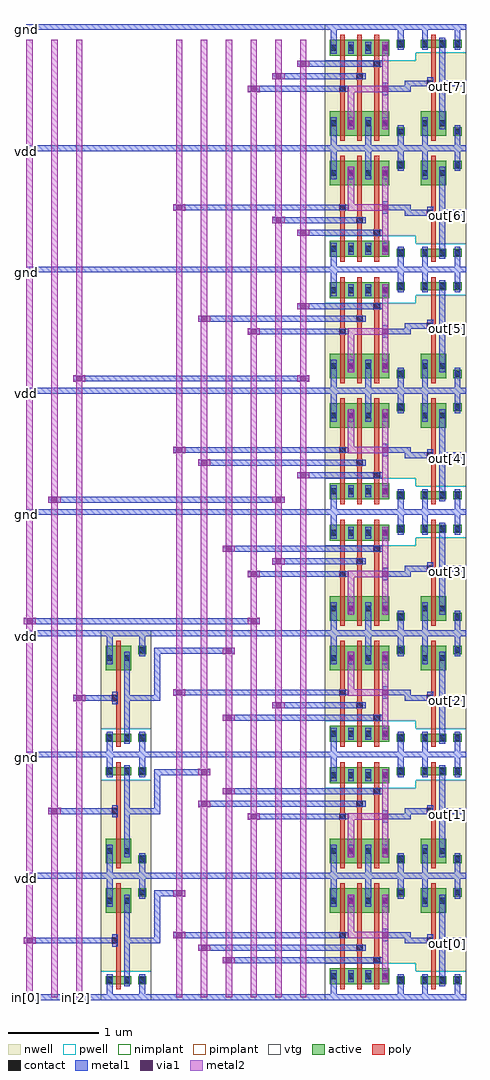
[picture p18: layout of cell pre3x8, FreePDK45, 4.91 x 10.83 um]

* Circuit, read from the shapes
.subckt pre3x8 gnd in[0] in[1] in[2] out[0] out[1] out[2] out[3] out[4] out[5] out[6] out[7] vdd
M1 pnand3_3_11/A in[0] gnd gnd nfet w=0.09u l=0.05u
M2 pnand3_3_11/B in[1] gnd gnd nfet w=0.09u l=0.05u
M3 pnand3_3_11/C in[2] gnd gnd nfet w=0.09u l=0.05u
M4 pnand3_3_11/nmos_m1_w0_18_a_p_3/D pnand3_3_11/A gnd gnd nfet w=0.18u l=0.05u
M5 pnand3_3_12/nmos_m1_w0_18_a_p_3/D in[0] gnd gnd nfet w=0.18u l=0.05u
M6 pnand3_3_13/nmos_m1_w0_18_a_p_3/D pnand3_3_11/A gnd gnd nfet w=0.18u l=0.05u
M7 pnand3_3_14/nmos_m1_w0_18_a_p_3/D in[0] gnd gnd nfet w=0.18u l=0.05u
M8 pnand3_3_15/nmos_m1_w0_18_a_p_3/D pnand3_3_11/A gnd gnd nfet w=0.18u l=0.05u
M9 pnand3_3_16/nmos_m1_w0_18_a_p_3/D in[0] gnd gnd nfet w=0.18u l=0.05u
M10 pnand3_3_17/nmos_m1_w0_18_a_p_3/D pnand3_3_11/A gnd gnd nfet w=0.18u l=0.05u
M11 pnand3_3_18/nmos_m1_w0_18_a_p_3/D in[0] gnd gnd nfet w=0.18u l=0.05u
M12 pnand3_3_11/nmos_m1_w0_18_a_p_4/D pnand3_3_11/B pnand3_3_11/nmos_m1_w0_18_a_p_3/D gnd nfet w=0.18u l=0.05u
M13 pnand3_3_12/nmos_m1_w0_18_a_p_4/D pnand3_3_11/B pnand3_3_12/nmos_m1_w0_18_a_p_3/D gnd nfet w=0.18u l=0.05u
M14 pnand3_3_13/nmos_m1_w0_18_a_p_4/D in[1] pnand3_3_13/nmos_m1_w0_18_a_p_3/D gnd nfet w=0.18u l=0.05u
M15 pnand3_3_14/nmos_m1_w0_18_a_p_4/D in[1] pnand3_3_14/nmos_m1_w0_18_a_p_3/D gnd nfet w=0.18u l=0.05u
M16 pnand3_3_15/nmos_m1_w0_18_a_p_4/D pnand3_3_11/B pnand3_3_15/nmos_m1_w0_18_a_p_3/D gnd nfet w=0.18u l=0.05u
M17 pnand3_3_16/nmos_m1_w0_18_a_p_4/D pnand3_3_11/B pnand3_3_16/nmos_m1_w0_18_a_p_3/D gnd nfet w=0.18u l=0.05u
M18 pnand3_3_17/nmos_m1_w0_18_a_p_4/D in[1] pnand3_3_17/nmos_m1_w0_18_a_p_3/D gnd nfet w=0.18u l=0.05u
M19 pnand3_3_18/nmos_m1_w0_18_a_p_4/D in[1] pnand3_3_18/nmos_m1_w0_18_a_p_3/D gnd nfet w=0.18u l=0.05u
M20 pinv_10_3/A pnand3_3_11/C pnand3_3_11/nmos_m1_w0_18_a_p_4/D gnd nfet w=0.18u l=0.05u
M21 pinv_10_4/A pnand3_3_11/C pnand3_3_12/nmos_m1_w0_18_a_p_4/D gnd nfet w=0.18u l=0.05u
M22 pinv_10_5/A pnand3_3_11/C pnand3_3_13/nmos_m1_w0_18_a_p_4/D gnd nfet w=0.18u l=0.05u
M23 pinv_10_6/A pnand3_3_11/C pnand3_3_14/nmos_m1_w0_18_a_p_4/D gnd nfet w=0.18u l=0.05u
M24 pinv_10_62/A in[2] pnand3_3_15/nmos_m1_w0_18_a_p_4/D gnd nfet w=0.18u l=0.05u
M25 pinv_10_63/A in[2] pnand3_3_16/nmos_m1_w0_18_a_p_4/D gnd nfet w=0.18u l=0.05u
M26 pinv_10_64/A in[2] pnand3_3_17/nmos_m1_w0_18_a_p_4/D gnd nfet w=0.18u l=0.05u
M27 pinv_10_10/A in[2] pnand3_3_18/nmos_m1_w0_18_a_p_4/D gnd nfet w=0.18u l=0.05u
M28 out[0] pinv_10_3/A gnd gnd nfet w=0.09u l=0.05u
M29 out[1] pinv_10_4/A gnd gnd nfet w=0.09u l=0.05u
M30 out[2] pinv_10_5/A gnd gnd nfet w=0.09u l=0.05u
M31 out[3] pinv_10_6/A gnd gnd nfet w=0.09u l=0.05u
M32 out[4] pinv_10_62/A gnd gnd nfet w=0.09u l=0.05u
M33 out[5] pinv_10_63/A gnd gnd nfet w=0.09u l=0.05u
M34 out[6] pinv_10_64/A gnd gnd nfet w=0.09u l=0.05u
M35 out[7] pinv_10_10/A gnd gnd nfet w=0.09u l=0.05u
M36 pnand3_3_11/A in[0] vdd vdd pfet w=0.27u l=0.05u
M37 pnand3_3_11/B in[1] vdd vdd pfet w=0.27u l=0.05u
M38 pnand3_3_11/C in[2] vdd vdd pfet w=0.27u l=0.05u
M39 pinv_10_3/A pnand3_3_11/A vdd vdd pfet w=0.27u l=0.05u
M40 pinv_10_4/A in[0] vdd vdd pfet w=0.27u l=0.05u
M41 pinv_10_5/A pnand3_3_11/A vdd vdd pfet w=0.27u l=0.05u
M42 pinv_10_6/A in[0] vdd vdd pfet w=0.27u l=0.05u
M43 pinv_10_62/A pnand3_3_11/A vdd vdd pfet w=0.27u l=0.05u
M44 pinv_10_63/A in[0] vdd vdd pfet w=0.27u l=0.05u
M45 pinv_10_64/A pnand3_3_11/A vdd vdd pfet w=0.27u l=0.05u
M46 pinv_10_10/A in[0] vdd vdd pfet w=0.27u l=0.05u
M47 vdd pnand3_3_11/B pinv_10_3/A vdd pfet w=0.27u l=0.05u
M48 vdd pnand3_3_11/B pinv_10_4/A vdd pfet w=0.27u l=0.05u
M49 vdd in[1] pinv_10_5/A vdd pfet w=0.27u l=0.05u
M50 vdd in[1] pinv_10_6/A vdd pfet w=0.27u l=0.05u
M51 vdd pnand3_3_11/B pinv_10_62/A vdd pfet w=0.27u l=0.05u
M52 vdd pnand3_3_11/B pinv_10_63/A vdd pfet w=0.27u l=0.05u
M53 vdd in[1] pinv_10_64/A vdd pfet w=0.27u l=0.05u
M54 vdd in[1] pinv_10_10/A vdd pfet w=0.27u l=0.05u
M55 pinv_10_3/A pnand3_3_11/C vdd vdd pfet w=0.27u l=0.05u
M56 pinv_10_4/A pnand3_3_11/C vdd vdd pfet w=0.27u l=0.05u
M57 pinv_10_5/A pnand3_3_11/C vdd vdd pfet w=0.27u l=0.05u
M58 pinv_10_6/A pnand3_3_11/C vdd vdd pfet w=0.27u l=0.05u
M59 pinv_10_62/A in[2] vdd vdd pfet w=0.27u l=0.05u
M60 pinv_10_63/A in[2] vdd vdd pfet w=0.27u l=0.05u
M61 pinv_10_64/A in[2] vdd vdd pfet w=0.27u l=0.05u
M62 pinv_10_10/A in[2] vdd vdd pfet w=0.27u l=0.05u
M63 out[0] pinv_10_3/A vdd vdd pfet w=0.27u l=0.05u
M64 out[1] pinv_10_4/A vdd vdd pfet w=0.27u l=0.05u
M65 out[2] pinv_10_5/A vdd vdd pfet w=0.27u l=0.05u
M66 out[3] pinv_10_6/A vdd vdd pfet w=0.27u l=0.05u
M67 out[4] pinv_10_62/A vdd vdd pfet w=0.27u l=0.05u
M68 out[5] pinv_10_63/A vdd vdd pfet w=0.27u l=0.05u
M69 out[6] pinv_10_64/A vdd vdd pfet w=0.27u l=0.05u
M70 out[7] pinv_10_10/A vdd vdd pfet w=0.27u l=0.05u
.ends

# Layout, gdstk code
from math import pi, radians
import gdstk
lib = gdstk.Library(unit=1e-6, precision=5e-10)
def R(c, l, rs):  # rectangles x0, y0, x1, y1
    for r in rs: c.add(gdstk.rectangle(r[:2], r[2:], *l))
def A(c, l, x, y, w, h, nx, ny, dx, dy):  # array of equal rectangles
    R(c, l, [(x+i*dx, y+j*dy, x+i*dx+w, y+j*dy+h) for i in range(nx) for j in range(ny)])
active = (1, 0)
pwell = (2, 0)
nwell = (3, 0)
nimplant = (4, 0)
pimplant = (5, 0)
vtg = (6, 0)
poly = (9, 0)
contact = (10, 0)
metal1 = (11, 0)
via1 = (12, 0)
metal2 = (13, 0)

active_contact_metal1_1x = lib.new_cell('active_contact_metal1_1x1_pn')
R(active_contact_metal1_1x, active, [(0,0.0225,0.09,0.1125), (0,0.0225,0.09,0.1125)])
R(active_contact_metal1_1x, nwell, [(-0.055,-0.0325,0.145,0.1675), (-0.055,-0.0325,0.145,0.1675)])
R(active_contact_metal1_1x, pimplant, [(0,0.0225,0.09,0.1125), (0,0.0225,0.09,0.1125)])
R(active_contact_metal1_1x, contact, [(0.0125,0.035,0.0775,0.1), (0.0125,0.035,0.0775,0.1)])
R(active_contact_metal1_1x, metal1, [(0.0125,0,0.0775,0.135), (0.0125,0,0.0775,0.135)])

pmos_m1_w0_27_a_p = lib.new_cell('pmos_m1_w0_27_a_p')
R(pmos_m1_w0_27_a_p, active, [(0,0,0.28,0.27), (0,0,0.28,0.27)])
R(pmos_m1_w0_27_a_p, nwell, [(-0.055,-0.055,0.335,0.325), (-0.055,-0.055,0.335,0.325)])
R(pmos_m1_w0_27_a_p, pimplant, [(0,0,0.28,0.27), (0,0,0.28,0.27)])
R(pmos_m1_w0_27_a_p, vtg, [(-0.055,-0.055,0.335,0.325), (-0.055,-0.055,0.335,0.325)])
R(pmos_m1_w0_27_a_p, poly, [(0.115,-0.055,0.165,0.325), (0.115,-0.055,0.165,0.325), (0.115,-0.055,0.165,0.325), (0.115,-0.055,0.165,0.325)])
R(pmos_m1_w0_27_a_p, metal1, [(0.0125,0.0675,0.0775,0.2025), (0.0125,0.0675,0.0775,0.2025), (0.2025,0.0675,0.2675,0.2025), (0.2025,0.0675,0.2675,0.2025)])
pmos_m1_w0_27_a_p.add(gdstk.Reference(active_contact_metal1_1x, (0,0.0675)))
pmos_m1_w0_27_a_p.add(gdstk.Reference(active_contact_metal1_1x, (0.19,0.0675)))
pmos_m1_w0_27_a_p.add(gdstk.Reference(active_contact_metal1_1x, (0,0.0675)))
pmos_m1_w0_27_a_p.add(gdstk.Reference(active_contact_metal1_1x, (0.19,0.0675)))
pmos_m1_w0_27_a_p.add(gdstk.Label('S', (0.0125,0.0675), layer=11, texttype=0))
pmos_m1_w0_27_a_p.add(gdstk.Label('D', (0.2025,0.0675), layer=11, texttype=0))
pmos_m1_w0_27_a_p.add(gdstk.Label('G', (0.115,-0.055), layer=9, texttype=0))
pmos_m1_w0_27_a_p.add(gdstk.Label('S', (0.0125,0.0675), layer=11, texttype=0))
pmos_m1_w0_27_a_p.add(gdstk.Label('D', (0.2025,0.0675), layer=11, texttype=0))
pmos_m1_w0_27_a_p.add(gdstk.Label('G', (0.115,-0.055), layer=9, texttype=0))

c_active_contact_metal1_1x = lib.new_cell('active_contact_metal1_1x1_np')
R(c_active_contact_metal1_1x, active, [(0,0.0225,0.09,0.1125)])
R(c_active_contact_metal1_1x, pwell, [(-0.055,-0.0325,0.145,0.1675)])
R(c_active_contact_metal1_1x, nimplant, [(0,0.0225,0.09,0.1125)])
R(c_active_contact_metal1_1x, contact, [(0.0125,0.035,0.0775,0.1)])
R(c_active_contact_metal1_1x, metal1, [(0.0125,0,0.0775,0.135)])

nmos_m1_w0_09_a_p = lib.new_cell('nmos_m1_w0_09_a_p')
R(nmos_m1_w0_09_a_p, active, [(0,0,0.28,0.09), (0,0,0.28,0.09)])
R(nmos_m1_w0_09_a_p, pwell, [(-0.055,-0.055,0.335,0.145), (-0.055,-0.055,0.335,0.145)])
R(nmos_m1_w0_09_a_p, nimplant, [(0,0,0.28,0.09), (0,0,0.28,0.09)])
R(nmos_m1_w0_09_a_p, vtg, [(-0.055,-0.055,0.335,0.145), (-0.055,-0.055,0.335,0.145)])
R(nmos_m1_w0_09_a_p, poly, [(0.115,-0.055,0.165,0.145), (0.115,-0.055,0.165,0.145), (0.115,-0.055,0.165,0.145), (0.115,-0.055,0.165,0.145)])
R(nmos_m1_w0_09_a_p, metal1, [(0.0125,-0.0225,0.0775,0.1125), (0.0125,-0.0225,0.0775,0.1125), (0.2025,-0.0225,0.2675,0.1125), (0.2025,-0.0225,0.2675,0.1125)])
nmos_m1_w0_09_a_p.add(gdstk.Reference(c_active_contact_metal1_1x, (0,-0.0225)))
nmos_m1_w0_09_a_p.add(gdstk.Reference(c_active_contact_metal1_1x, (0.19,-0.0225)))
nmos_m1_w0_09_a_p.add(gdstk.Reference(c_active_contact_metal1_1x, (0,-0.0225)))
nmos_m1_w0_09_a_p.add(gdstk.Reference(c_active_contact_metal1_1x, (0.19,-0.0225)))
nmos_m1_w0_09_a_p.add(gdstk.Label('S', (0.0125,-0.0225), layer=11, texttype=0))
nmos_m1_w0_09_a_p.add(gdstk.Label('D', (0.2025,-0.0225), layer=11, texttype=0))
nmos_m1_w0_09_a_p.add(gdstk.Label('G', (0.115,-0.055), layer=9, texttype=0))
nmos_m1_w0_09_a_p.add(gdstk.Label('S', (0.0125,-0.0225), layer=11, texttype=0))
nmos_m1_w0_09_a_p.add(gdstk.Label('D', (0.2025,-0.0225), layer=11, texttype=0))
nmos_m1_w0_09_a_p.add(gdstk.Label('G', (0.115,-0.055), layer=9, texttype=0))

c_active_contact_metal1_1x_ = lib.new_cell('active_contact_metal1_1x1_nn')
R(c_active_contact_metal1_1x_, active, [(0,0.0225,0.09,0.1125), (0,0.0225,0.09,0.1125)])
R(c_active_contact_metal1_1x_, nwell, [(-0.055,-0.0325,0.145,0.1675), (-0.055,-0.0325,0.145,0.1675)])
R(c_active_contact_metal1_1x_, nimplant, [(0,0.0225,0.09,0.1125), (0,0.0225,0.09,0.1125)])
R(c_active_contact_metal1_1x_, contact, [(0.0125,0.035,0.0775,0.1), (0.0125,0.035,0.0775,0.1)])
R(c_active_contact_metal1_1x_, metal1, [(0.0125,0,0.0775,0.135), (0.0125,0,0.0775,0.135)])

c_active_contact_metal1_1x__ = lib.new_cell('active_contact_metal1_1x1_pp')
R(c_active_contact_metal1_1x__, active, [(0,0.0225,0.09,0.1125)])
R(c_active_contact_metal1_1x__, pwell, [(-0.055,-0.0325,0.145,0.1675)])
R(c_active_contact_metal1_1x__, pimplant, [(0,0.0225,0.09,0.1125)])
R(c_active_contact_metal1_1x__, contact, [(0.0125,0.035,0.0775,0.1)])
R(c_active_contact_metal1_1x__, metal1, [(0.0125,0,0.0775,0.135)])

poly_contact_metal1_1x1 = lib.new_cell('poly_contact_metal1_1x1')
R(poly_contact_metal1_1x1, poly, [(0,0.03,0.075,0.105), (0,0.03,0.075,0.105)])
R(poly_contact_metal1_1x1, contact, [(0.005,0.035,0.07,0.1), (0.005,0.035,0.07,0.1)])
R(poly_contact_metal1_1x1, metal1, [(0.005,0,0.07,0.135), (0.005,0,0.07,0.135)])

pinv_10 = lib.new_cell('pinv_10')
R(pinv_10, pwell, [(0,-0.0325,0.56,0.285)])
R(pinv_10, nwell, [(0,0.285,0.56,1.3775)])
R(pinv_10, vtg, [(0,-0.0325,0.56,0.285), (0,0.285,0.56,1.3775)])
R(pinv_10, poly, [(0.17,0.085,0.22,0.88), (0.1575,0.59,0.17,0.665)])
R(pinv_10, metal1, [(0,-0.0325,0.56,0.0325), (0.0675,-0.0325,0.1325,0.1175), (0.4275,0,0.4925,0.185), (0.2575,0.1175,0.3225,1.0025), (0.125,0.56,0.19,0.695), (0.29,0.595,0.355,0.66), (0.0675,1.0025,0.1325,1.3775), (0.4275,1.16,0.4925,1.345), (0,1.3125,0.56,1.3775)])
pinv_10.add(gdstk.Reference(pmos_m1_w0_27_a_p, (0.055,0.935)))
pinv_10.add(gdstk.Reference(nmos_m1_w0_09_a_p, (0.055,0.14)))
pinv_10.add(gdstk.Reference(c_active_contact_metal1_1x_, (0.415,1.0925)))
pinv_10.add(gdstk.Reference(c_active_contact_metal1_1x__, (0.415,0.1175)))
pinv_10.add(gdstk.Reference(poly_contact_metal1_1x1, (0.12,0.56)))
pinv_10.add(gdstk.Label('A', (0.125,0.56), layer=11, texttype=0))
pinv_10.add(gdstk.Label('Z', (0.29,0.595), layer=11, texttype=0))
pinv_10.add(gdstk.Label('vdd', (0,1.3125), layer=11, texttype=0))
pinv_10.add(gdstk.Label('gnd', (0,-0.0325), layer=11, texttype=0))

nmos_m1_w0_18_a_p = lib.new_cell('nmos_m1_w0_18_a_p')
R(nmos_m1_w0_18_a_p, active, [(0,0,0.28,0.18), (0,0,0.28,0.18)])
R(nmos_m1_w0_18_a_p, pwell, [(-0.055,-0.055,0.335,0.235), (-0.055,-0.055,0.335,0.235)])
R(nmos_m1_w0_18_a_p, nimplant, [(0,0,0.28,0.18), (0,0,0.28,0.18)])
R(nmos_m1_w0_18_a_p, vtg, [(-0.055,-0.055,0.335,0.235), (-0.055,-0.055,0.335,0.235)])
R(nmos_m1_w0_18_a_p, poly, [(0.115,-0.055,0.165,0.235), (0.115,-0.055,0.165,0.235), (0.115,-0.055,0.165,0.235), (0.115,-0.055,0.165,0.235)])
R(nmos_m1_w0_18_a_p, metal1, [(0.0125,0.0225,0.0775,0.1575), (0.0125,0.0225,0.0775,0.1575), (0.2025,0.0225,0.2675,0.1575), (0.2025,0.0225,0.2675,0.1575)])
nmos_m1_w0_18_a_p.add(gdstk.Reference(c_active_contact_metal1_1x, (0,0.0225)))
nmos_m1_w0_18_a_p.add(gdstk.Reference(c_active_contact_metal1_1x, (0.19,0.0225)))
nmos_m1_w0_18_a_p.add(gdstk.Reference(c_active_contact_metal1_1x, (0,0.0225)))
nmos_m1_w0_18_a_p.add(gdstk.Reference(c_active_contact_metal1_1x, (0.19,0.0225)))
nmos_m1_w0_18_a_p.add(gdstk.Label('S', (0.0125,0.0225), layer=11, texttype=0))
nmos_m1_w0_18_a_p.add(gdstk.Label('D', (0.2025,0.0225), layer=11, texttype=0))
nmos_m1_w0_18_a_p.add(gdstk.Label('G', (0.115,-0.055), layer=9, texttype=0))
nmos_m1_w0_18_a_p.add(gdstk.Label('S', (0.0125,0.0225), layer=11, texttype=0))
nmos_m1_w0_18_a_p.add(gdstk.Label('D', (0.2025,0.0225), layer=11, texttype=0))
nmos_m1_w0_18_a_p.add(gdstk.Label('G', (0.115,-0.055), layer=9, texttype=0))

metal1_via1_metal2_1x1 = lib.new_cell('metal1_via1_metal2_1x1')
R(metal1_via1_metal2_1x1, metal1, [(0.0025,0,0.0675,0.135), (0.0025,0,0.0675,0.135)])
R(metal1_via1_metal2_1x1, via1, [(0.0025,0.035,0.0675,0.1), (0.0025,0.035,0.0675,0.1)])
R(metal1_via1_metal2_1x1, metal2, [(0,0,0.07,0.135), (0,0,0.07,0.135)])

pnand3_3 = lib.new_cell('pnand3_3')
R(pnand3_3, pwell, [(0,-0.0325,1.01,0.375)])
R(pnand3_3, nwell, [(0,0.375,1.01,1.3775)])
R(pnand3_3, vtg, [(0,-0.0325,1.01,0.375), (0,0.375,1.01,1.3775)])
A(pnand3_3, poly, 0.17, 0.085, 0.05, 0.795, 3, 1, 0.19, 0)
R(pnand3_3, poly, [(0.55,0.37,0.575,0.445), (0.36,0.51,0.385,0.585), (0.17,0.65,0.195,0.725)])
R(pnand3_3, metal1, [(0,-0.0325,1.01,0.0325), (0.0675,-0.0325,0.1325,0.1625), (0.8075,0,0.8725,0.185), (0.5075,0.375,0.6425,0.44), (0.3175,0.515,0.4525,0.58), (0.6375,0.62,0.7025,0.755), (0.1275,0.655,0.2625,0.72), (0.0675,1.0025,0.1325,1.3775), (0.4475,1.0025,0.5125,1.3775), (0.8075,1.16,0.8725,1.345), (0,1.3125,1.01,1.3775)])
R(pnand3_3, metal2, [(0.635,0.2975,0.705,1.0025), (0.635,0.2975,0.705,0.6875), (0.255,0.6525,0.325,0.7225), (0.29,0.6525,0.67,0.7225), (0.635,0.6525,0.705,0.7225), (0.255,0.6875,0.325,1.0025)])
pnand3_3.add(gdstk.Reference(pmos_m1_w0_27_a_p, (0.055,0.935)))
pnand3_3.add(gdstk.Reference(pmos_m1_w0_27_a_p, (0.245,0.935)))
pnand3_3.add(gdstk.Reference(pmos_m1_w0_27_a_p, (0.435,0.935)))
pnand3_3.add(gdstk.Reference(nmos_m1_w0_18_a_p, (0.055,0.14)))
pnand3_3.add(gdstk.Reference(nmos_m1_w0_18_a_p, (0.245,0.14)))
pnand3_3.add(gdstk.Reference(nmos_m1_w0_18_a_p, (0.435,0.14)))
pnand3_3.add(gdstk.Reference(c_active_contact_metal1_1x_, (0.795,1.0925)))
pnand3_3.add(gdstk.Reference(c_active_contact_metal1_1x__, (0.795,0.1175)))
pnand3_3.add(gdstk.Reference(poly_contact_metal1_1x1, (0.6425,0.37), rotation=pi/2))
pnand3_3.add(gdstk.Reference(poly_contact_metal1_1x1, (0.4525,0.51), rotation=pi/2))
pnand3_3.add(gdstk.Reference(poly_contact_metal1_1x1, (0.2625,0.65), rotation=pi/2))
pnand3_3.add(gdstk.Reference(metal1_via1_metal2_1x1, (0.255,1.0025)))
pnand3_3.add(gdstk.Reference(metal1_via1_metal2_1x1, (0.635,1.0025)))
pnand3_3.add(gdstk.Reference(metal1_via1_metal2_1x1, (0.635,0.1625)))
pnand3_3.add(gdstk.Reference(metal1_via1_metal2_1x1, (0.635,0.62)))
pnand3_3.add(gdstk.Label('A', (0.1275,0.655), layer=11, texttype=0))
pnand3_3.add(gdstk.Label('C', (0.5075,0.375), layer=11, texttype=0))
pnand3_3.add(gdstk.Label('B', (0.3175,0.515), layer=11, texttype=0))
pnand3_3.add(gdstk.Label('vdd', (0,1.3125), layer=11, texttype=0))
pnand3_3.add(gdstk.Label('gnd', (0,-0.0325), layer=11, texttype=0))
pnand3_3.add(gdstk.Label('Z', (0.6375,0.62), layer=11, texttype=0))

pre3x8 = lib.new_cell('pre3x8')
R(pre3x8, metal1, [(0,-0.0325,4.88,0.0325), (0,-0.0325,4.88,0.0325), (2.245,0.375,3.8175,0.44), (2.245,0.375,3.8175,0.44), (1.97,0.515,3.6275,0.58), (1.97,0.515,3.6275,0.58), (0.035,0.595,0.95,0.66), (0.035,0.595,0.95,0.66), (1.18,0.595,1.45,0.66), (1.18,0.595,1.45,0.66), (1.4175,0.595,1.4825,0.66), (1.4175,0.595,1.4825,0.66), (4.1975,0.595,4.2625,0.66), (4.1975,0.595,4.2625,0.66), (4.23,0.595,4.445,0.66), (4.23,0.595,4.445,0.66), (4.675,0.595,4.88,0.66), (4.675,0.595,4.88,0.66), (1.4175,0.6275,1.4825,1.15), (1.4175,0.6275,1.4825,1.15), (4.1975,0.6275,4.2625,0.6875), (4.1975,0.6275,4.2625,0.6875), (1.695,0.655,3.4375,0.72), (1.695,0.655,3.4375,0.72), (4.0125,0.655,4.23,0.72), (4.0125,0.655,4.23,0.72), (4.1975,0.655,4.2625,0.72), (4.1975,0.655,4.2625,0.72), (1.4175,1.1175,1.4825,1.1825), (1.4175,1.1175,1.4825,1.1825), (1.45,1.1175,1.695,1.1825), (1.45,1.1175,1.695,1.1825), (0,1.3125,4.88,1.3775), (0,1.3125,4.88,1.3775), (2.52,1.97,3.4375,2.035), (2.52,1.97,3.4375,2.035), (4.0125,1.97,4.23,2.035), (4.0125,1.97,4.23,2.035), (4.1975,1.97,4.2625,2.035), (4.1975,1.97,4.2625,2.035), (4.1975,2.0025,4.2625,2.0625), (4.1975,2.0025,4.2625,2.0625), (0.31,2.03,0.95,2.095), (0.31,2.03,0.95,2.095), (1.18,2.03,1.45,2.095), (1.18,2.03,1.45,2.095), (1.4175,2.03,1.4825,2.095), (1.4175,2.03,1.4825,2.095), (4.1975,2.03,4.2625,2.095), (4.1975,2.03,4.2625,2.095), (4.23,2.03,4.445,2.095), (4.23,2.03,4.445,2.095), (4.675,2.03,4.88,2.095), (4.675,2.03,4.88,2.095), (1.4175,2.0625,1.4825,2.495), (1.4175,2.0625,1.4825,2.495), (1.97,2.11,3.6275,2.175), (1.97,2.11,3.6275,2.175), (2.245,2.25,3.8175,2.315), (2.245,2.25,3.8175,2.315), (1.4175,2.4625,1.4825,2.5275), (1.4175,2.4625,1.4825,2.5275), (1.45,2.4625,1.97,2.5275), (1.45,2.4625,1.97,2.5275), (0,2.6575,4.88,2.7225), (0,2.6575,4.88,2.7225), (2.245,3.065,3.8175,3.13), (2.245,3.065,3.8175,3.13), (2.795,3.205,3.6275,3.27), (2.795,3.205,3.6275,3.27), (0.585,3.285,0.95,3.35), (0.585,3.285,0.95,3.35), (1.18,3.285,1.45,3.35), (1.18,3.285,1.45,3.35), (1.4175,3.285,1.4825,3.35), (1.4175,3.285,1.4825,3.35), (4.1975,3.285,4.2625,3.35), (4.1975,3.285,4.2625,3.35), (4.23,3.285,4.445,3.35), (4.23,3.285,4.445,3.35), (4.675,3.285,4.88,3.35), (4.675,3.285,4.88,3.35), (1.4175,3.3175,1.4825,3.84), (1.4175,3.3175,1.4825,3.84), (4.1975,3.3175,4.2625,3.3775), (4.1975,3.3175,4.2625,3.3775), (1.695,3.345,3.4375,3.41), (1.695,3.345,3.4375,3.41), (4.0125,3.345,4.23,3.41), (4.0125,3.345,4.23,3.41), (4.1975,3.345,4.2625,3.41), (4.1975,3.345,4.2625,3.41), (1.4175,3.8075,1.4825,3.8725), (1.4175,3.8075,1.4825,3.8725), (1.45,3.8075,2.245,3.8725), (1.45,3.8075,2.245,3.8725), (0,4.0025,4.88,4.0675), (0,4.0025,4.88,4.0675), (0.035,4.1375,2.52,4.2025), (0.035,4.1375,2.52,4.2025), (2.52,4.66,3.4375,4.725), (2.52,4.66,3.4375,4.725), (4.0125,4.66,4.23,4.725), (4.0125,4.66,4.23,4.725), (4.1975,4.66,4.2625,4.725), (4.1975,4.66,4.2625,4.725), (4.1975,4.6925,4.2625,4.7525), (4.1975,4.6925,4.2625,4.7525), (4.1975,4.72,4.2625,4.785), (4.1975,4.72,4.2625,4.785), (4.23,4.72,4.445,4.785), (4.23,4.72,4.445,4.785), (4.675,4.72,4.88,4.785), (4.675,4.72,4.88,4.785), (2.795,4.8,3.6275,4.865), (2.795,4.8,3.6275,4.865), (2.245,4.94,3.8175,5.005), (2.245,4.94,3.8175,5.005), (0,5.3475,4.88,5.4125), (0,5.3475,4.88,5.4125), (0.31,5.4825,2.795,5.5475), (0.31,5.4825,2.795,5.5475), (3.07,5.755,3.8175,5.82), (3.07,5.755,3.8175,5.82), (1.97,5.895,3.6275,5.96), (1.97,5.895,3.6275,5.96), (4.1975,5.975,4.2625,6.04), (4.1975,5.975,4.2625,6.04), (4.23,5.975,4.445,6.04), (4.23,5.975,4.445,6.04), (4.675,5.975,4.88,6.04), (4.675,5.975,4.88,6.04), (4.1975,6.0075,4.2625,6.0675), (4.1975,6.0075,4.2625,6.0675), (1.695,6.035,3.4375,6.1), (1.695,6.035,3.4375,6.1), (4.0125,6.035,4.23,6.1), (4.0125,6.035,4.23,6.1), (4.1975,6.035,4.2625,6.1), (4.1975,6.035,4.2625,6.1), (0,6.6925,4.88,6.7575), (0,6.6925,4.88,6.7575), (0.585,6.8275,3.07,6.8925), (0.585,6.8275,3.07,6.8925), (2.52,7.35,3.4375,7.415), (2.52,7.35,3.4375,7.415), (4.0125,7.35,4.23,7.415), (4.0125,7.35,4.23,7.415), (4.1975,7.35,4.2625,7.415), (4.1975,7.35,4.2625,7.415), (4.1975,7.3825,4.2625,7.4425), (4.1975,7.3825,4.2625,7.4425), (4.1975,7.41,4.2625,7.475), (4.1975,7.41,4.2625,7.475), (4.23,7.41,4.445,7.475), (4.23,7.41,4.445,7.475), (4.675,7.41,4.88,7.475), (4.675,7.41,4.88,7.475), (1.97,7.49,3.6275,7.555), (1.97,7.49,3.6275,7.555), (3.07,7.63,3.8175,7.695), (3.07,7.63,3.8175,7.695), (0,8.0375,4.88,8.1025), (0,8.0375,4.88,8.1025), (3.07,8.445,3.8175,8.51), (3.07,8.445,3.8175,8.51), (2.795,8.585,3.6275,8.65), (2.795,8.585,3.6275,8.65), (4.1975,8.665,4.2625,8.73), (4.1975,8.665,4.2625,8.73), (4.23,8.665,4.445,8.73), (4.23,8.665,4.445,8.73), (4.675,8.665,4.88,8.73), (4.675,8.665,4.88,8.73), (4.1975,8.6975,4.2625,8.7575), (4.1975,8.6975,4.2625,8.7575), (1.695,8.725,3.4375,8.79), (1.695,8.725,3.4375,8.79), (4.0125,8.725,4.23,8.79), (4.0125,8.725,4.23,8.79), (4.1975,8.725,4.2625,8.79), (4.1975,8.725,4.2625,8.79), (0,9.3825,4.88,9.4475), (0,9.3825,4.88,9.4475), (2.52,10.04,3.4375,10.105), (2.52,10.04,3.4375,10.105), (4.0125,10.04,4.23,10.105), (4.0125,10.04,4.23,10.105), (4.1975,10.04,4.2625,10.105), (4.1975,10.04,4.2625,10.105), (4.1975,10.0725,4.2625,10.1325), (4.1975,10.0725,4.2625,10.1325), (4.1975,10.1,4.2625,10.165), (4.1975,10.1,4.2625,10.165), (4.23,10.1,4.445,10.165), (4.23,10.1,4.445,10.165), (4.675,10.1,4.88,10.165), (4.675,10.1,4.88,10.165), (2.795,10.18,3.6275,10.245), (2.795,10.18,3.6275,10.245), (3.07,10.32,3.8175,10.385), (3.07,10.32,3.8175,10.385), (0,10.7275,4.88,10.7925), (0,10.7275,4.88,10.7925)])
R(pre3x8, metal2, [(0,0,0.07,10.62), (0,0,0.07,10.62), (0.275,0,0.345,10.62), (0.275,0,0.345,10.62), (0.55,0,0.62,10.62), (0.55,0,0.62,10.62), (1.66,0,1.73,10.62), (1.66,0,1.73,10.62), (1.935,0,2.005,10.62), (1.935,0,2.005,10.62), (2.21,0,2.28,10.62), (2.21,0,2.28,10.62), (2.485,0,2.555,10.62), (2.485,0,2.555,10.62), (2.76,0,2.83,10.62), (2.76,0,2.83,10.62), (3.035,0,3.105,10.62), (3.035,0,3.105,10.62)])
pre3x8.add(gdstk.Reference(pinv_10, (0.825,0)))
pre3x8.add(gdstk.Reference(pinv_10, (0.825,2.69), x_reflection=True))
pre3x8.add(gdstk.Reference(pinv_10, (0.825,2.69)))
pre3x8.add(gdstk.Reference(pinv_10, (4.32,0)))
pre3x8.add(gdstk.Reference(pinv_10, (4.32,2.69), x_reflection=True))
pre3x8.add(gdstk.Reference(pinv_10, (4.32,2.69)))
pre3x8.add(gdstk.Reference(pinv_10, (4.32,5.38), x_reflection=True))
pre3x8.add(gdstk.Reference(pinv_10, (4.32,5.38)))
pre3x8.add(gdstk.Reference(pinv_10, (4.32,8.07), x_reflection=True))
pre3x8.add(gdstk.Reference(pinv_10, (4.32,8.07)))
pre3x8.add(gdstk.Reference(pinv_10, (4.32,10.76), x_reflection=True))
pre3x8.add(gdstk.Reference(pnand3_3, (3.31,0)))
pre3x8.add(gdstk.Reference(pnand3_3, (3.31,2.69), x_reflection=True))
pre3x8.add(gdstk.Reference(pnand3_3, (3.31,2.69)))
pre3x8.add(gdstk.Reference(pnand3_3, (3.31,5.38), x_reflection=True))
pre3x8.add(gdstk.Reference(pnand3_3, (3.31,5.38)))
pre3x8.add(gdstk.Reference(pnand3_3, (3.31,8.07), x_reflection=True))
pre3x8.add(gdstk.Reference(pnand3_3, (3.31,8.07)))
pre3x8.add(gdstk.Reference(pnand3_3, (3.31,10.76), x_reflection=True))
pre3x8.add(gdstk.Reference(metal1_via1_metal2_1x1, (1.7625,1.115), rotation=pi/2))
pre3x8.add(gdstk.Reference(metal1_via1_metal2_1x1, (0.1025,0.5925), rotation=pi/2))
pre3x8.add(gdstk.Reference(metal1_via1_metal2_1x1, (2.0375,2.46), rotation=pi/2))
pre3x8.add(gdstk.Reference(metal1_via1_metal2_1x1, (0.3775,2.0275), rotation=pi/2))
pre3x8.add(gdstk.Reference(metal1_via1_metal2_1x1, (2.3125,3.805), rotation=pi/2))
pre3x8.add(gdstk.Reference(metal1_via1_metal2_1x1, (0.6525,3.2825), rotation=pi/2))
pre3x8.add(gdstk.Reference(metal1_via1_metal2_1x1, (0.1025,4.135), rotation=pi/2))
pre3x8.add(gdstk.Reference(metal1_via1_metal2_1x1, (2.5875,4.135), rotation=pi/2))
pre3x8.add(gdstk.Reference(metal1_via1_metal2_1x1, (0.3775,5.48), rotation=pi/2))
pre3x8.add(gdstk.Reference(metal1_via1_metal2_1x1, (2.8625,5.48), rotation=pi/2))
pre3x8.add(gdstk.Reference(metal1_via1_metal2_1x1, (0.6525,6.825), rotation=pi/2))
pre3x8.add(gdstk.Reference(metal1_via1_metal2_1x1, (3.1375,6.825), rotation=pi/2))
pre3x8.add(gdstk.Reference(metal1_via1_metal2_1x1, (1.7625,0.6525), rotation=pi/2))
pre3x8.add(gdstk.Reference(metal1_via1_metal2_1x1, (2.0375,0.5125), rotation=pi/2))
pre3x8.add(gdstk.Reference(metal1_via1_metal2_1x1, (2.3125,0.3725), rotation=pi/2))
pre3x8.add(gdstk.Reference(metal1_via1_metal2_1x1, (2.5875,1.9675), rotation=pi/2))
pre3x8.add(gdstk.Reference(metal1_via1_metal2_1x1, (2.0375,2.1075), rotation=pi/2))
pre3x8.add(gdstk.Reference(metal1_via1_metal2_1x1, (2.3125,2.2475), rotation=pi/2))
pre3x8.add(gdstk.Reference(metal1_via1_metal2_1x1, (1.7625,3.3425), rotation=pi/2))
pre3x8.add(gdstk.Reference(metal1_via1_metal2_1x1, (2.8625,3.2025), rotation=pi/2))
pre3x8.add(gdstk.Reference(metal1_via1_metal2_1x1, (2.3125,3.0625), rotation=pi/2))
pre3x8.add(gdstk.Reference(metal1_via1_metal2_1x1, (2.5875,4.6575), rotation=pi/2))
pre3x8.add(gdstk.Reference(metal1_via1_metal2_1x1, (2.8625,4.7975), rotation=pi/2))
pre3x8.add(gdstk.Reference(metal1_via1_metal2_1x1, (2.3125,4.9375), rotation=pi/2))
pre3x8.add(gdstk.Reference(metal1_via1_metal2_1x1, (1.7625,6.0325), rotation=pi/2))
pre3x8.add(gdstk.Reference(metal1_via1_metal2_1x1, (2.0375,5.8925), rotation=pi/2))
pre3x8.add(gdstk.Reference(metal1_via1_metal2_1x1, (3.1375,5.7525), rotation=pi/2))
pre3x8.add(gdstk.Reference(metal1_via1_metal2_1x1, (2.5875,7.3475), rotation=pi/2))
pre3x8.add(gdstk.Reference(metal1_via1_metal2_1x1, (2.0375,7.4875), rotation=pi/2))
pre3x8.add(gdstk.Reference(metal1_via1_metal2_1x1, (3.1375,7.6275), rotation=pi/2))
pre3x8.add(gdstk.Reference(metal1_via1_metal2_1x1, (1.7625,8.7225), rotation=pi/2))
pre3x8.add(gdstk.Reference(metal1_via1_metal2_1x1, (2.8625,8.5825), rotation=pi/2))
pre3x8.add(gdstk.Reference(metal1_via1_metal2_1x1, (3.1375,8.4425), rotation=pi/2))
pre3x8.add(gdstk.Reference(metal1_via1_metal2_1x1, (2.5875,10.0375), rotation=pi/2))
pre3x8.add(gdstk.Reference(metal1_via1_metal2_1x1, (2.8625,10.1775), rotation=pi/2))
pre3x8.add(gdstk.Reference(metal1_via1_metal2_1x1, (3.1375,10.3175), rotation=pi/2))
pre3x8.add(gdstk.Reference(pinv_10, (0.825,0)))
pre3x8.add(gdstk.Reference(pinv_10, (0.825,2.69), x_reflection=True))
pre3x8.add(gdstk.Reference(pinv_10, (0.825,2.69)))
pre3x8.add(gdstk.Reference(pinv_10, (4.32,0)))
pre3x8.add(gdstk.Reference(pinv_10, (4.32,2.69), x_reflection=True))
pre3x8.add(gdstk.Reference(pinv_10, (4.32,2.69)))
pre3x8.add(gdstk.Reference(pinv_10, (4.32,5.38), x_reflection=True))
pre3x8.add(gdstk.Reference(pinv_10, (4.32,5.38)))
pre3x8.add(gdstk.Reference(pinv_10, (4.32,8.07), x_reflection=True))
pre3x8.add(gdstk.Reference(pinv_10, (4.32,8.07)))
pre3x8.add(gdstk.Reference(pinv_10, (4.32,10.76), x_reflection=True))
pre3x8.add(gdstk.Reference(pnand3_3, (3.31,0)))
pre3x8.add(gdstk.Reference(pnand3_3, (3.31,2.69), x_reflection=True))
pre3x8.add(gdstk.Reference(pnand3_3, (3.31,2.69)))
pre3x8.add(gdstk.Reference(pnand3_3, (3.31,5.38), x_reflection=True))
pre3x8.add(gdstk.Reference(pnand3_3, (3.31,5.38)))
pre3x8.add(gdstk.Reference(pnand3_3, (3.31,8.07), x_reflection=True))
pre3x8.add(gdstk.Reference(pnand3_3, (3.31,8.07)))
pre3x8.add(gdstk.Reference(pnand3_3, (3.31,10.76), x_reflection=True))
pre3x8.add(gdstk.Reference(metal1_via1_metal2_1x1, (1.7625,1.115), rotation=pi/2))
pre3x8.add(gdstk.Reference(metal1_via1_metal2_1x1, (0.1025,0.5925), rotation=pi/2))
pre3x8.add(gdstk.Reference(metal1_via1_metal2_1x1, (2.0375,2.46), rotation=pi/2))
pre3x8.add(gdstk.Reference(metal1_via1_metal2_1x1, (0.3775,2.0275), rotation=pi/2))
pre3x8.add(gdstk.Reference(metal1_via1_metal2_1x1, (2.3125,3.805), rotation=pi/2))
pre3x8.add(gdstk.Reference(metal1_via1_metal2_1x1, (0.6525,3.2825), rotation=pi/2))
pre3x8.add(gdstk.Reference(metal1_via1_metal2_1x1, (0.1025,4.135), rotation=pi/2))
pre3x8.add(gdstk.Reference(metal1_via1_metal2_1x1, (2.5875,4.135), rotation=pi/2))
pre3x8.add(gdstk.Reference(metal1_via1_metal2_1x1, (0.3775,5.48), rotation=pi/2))
pre3x8.add(gdstk.Reference(metal1_via1_metal2_1x1, (2.8625,5.48), rotation=pi/2))
pre3x8.add(gdstk.Reference(metal1_via1_metal2_1x1, (0.6525,6.825), rotation=pi/2))
pre3x8.add(gdstk.Reference(metal1_via1_metal2_1x1, (3.1375,6.825), rotation=pi/2))
pre3x8.add(gdstk.Reference(metal1_via1_metal2_1x1, (1.7625,0.6525), rotation=pi/2))
pre3x8.add(gdstk.Reference(metal1_via1_metal2_1x1, (2.0375,0.5125), rotation=pi/2))
pre3x8.add(gdstk.Reference(metal1_via1_metal2_1x1, (2.3125,0.3725), rotation=pi/2))
pre3x8.add(gdstk.Reference(metal1_via1_metal2_1x1, (2.5875,1.9675), rotation=pi/2))
pre3x8.add(gdstk.Reference(metal1_via1_metal2_1x1, (2.0375,2.1075), rotation=pi/2))
pre3x8.add(gdstk.Reference(metal1_via1_metal2_1x1, (2.3125,2.2475), rotation=pi/2))
pre3x8.add(gdstk.Reference(metal1_via1_metal2_1x1, (1.7625,3.3425), rotation=pi/2))
pre3x8.add(gdstk.Reference(metal1_via1_metal2_1x1, (2.8625,3.2025), rotation=pi/2))
pre3x8.add(gdstk.Reference(metal1_via1_metal2_1x1, (2.3125,3.0625), rotation=pi/2))
pre3x8.add(gdstk.Reference(metal1_via1_metal2_1x1, (2.5875,4.6575), rotation=pi/2))
pre3x8.add(gdstk.Reference(metal1_via1_metal2_1x1, (2.8625,4.7975), rotation=pi/2))
pre3x8.add(gdstk.Reference(metal1_via1_metal2_1x1, (2.3125,4.9375), rotation=pi/2))
pre3x8.add(gdstk.Reference(metal1_via1_metal2_1x1, (1.7625,6.0325), rotation=pi/2))
pre3x8.add(gdstk.Reference(metal1_via1_metal2_1x1, (2.0375,5.8925), rotation=pi/2))
pre3x8.add(gdstk.Reference(metal1_via1_metal2_1x1, (3.1375,5.7525), rotation=pi/2))
pre3x8.add(gdstk.Reference(metal1_via1_metal2_1x1, (2.5875,7.3475), rotation=pi/2))
pre3x8.add(gdstk.Reference(metal1_via1_metal2_1x1, (2.0375,7.4875), rotation=pi/2))
pre3x8.add(gdstk.Reference(metal1_via1_metal2_1x1, (3.1375,7.6275), rotation=pi/2))
pre3x8.add(gdstk.Reference(metal1_via1_metal2_1x1, (1.7625,8.7225), rotation=pi/2))
pre3x8.add(gdstk.Reference(metal1_via1_metal2_1x1, (2.8625,8.5825), rotation=pi/2))
pre3x8.add(gdstk.Reference(metal1_via1_metal2_1x1, (3.1375,8.4425), rotation=pi/2))
pre3x8.add(gdstk.Reference(metal1_via1_metal2_1x1, (2.5875,10.0375), rotation=pi/2))
pre3x8.add(gdstk.Reference(metal1_via1_metal2_1x1, (2.8625,10.1775), rotation=pi/2))
pre3x8.add(gdstk.Reference(metal1_via1_metal2_1x1, (3.1375,10.3175), rotation=pi/2))
pre3x8.add(gdstk.Label('out[3]', (4.675,4.72), layer=11, texttype=0))
pre3x8.add(gdstk.Label('in[2]', (0.55,0), layer=13, texttype=0))
pre3x8.add(gdstk.Label('out[2]', (4.675,3.285), layer=11, texttype=0))
pre3x8.add(gdstk.Label('in[0]', (0,0), layer=13, texttype=0))
pre3x8.add(gdstk.Label('out[6]', (4.675,8.665), layer=11, texttype=0))
pre3x8.add(gdstk.Label('out[0]', (4.675,0.595), layer=11, texttype=0))
pre3x8.add(gdstk.Label('out[1]', (4.675,2.03), layer=11, texttype=0))
pre3x8.add(gdstk.Label('out[4]', (4.675,5.975), layer=11, texttype=0))
pre3x8.add(gdstk.Label('out[5]', (4.675,7.41), layer=11, texttype=0))
pre3x8.add(gdstk.Label('out[7]', (4.675,10.1), layer=11, texttype=0))
pre3x8.add(gdstk.Label('gnd', (0,-0.0325), layer=11, texttype=0))
pre3x8.add(gdstk.Label('gnd', (0,2.6575), layer=11, texttype=0))
pre3x8.add(gdstk.Label('gnd', (0,5.3475), layer=11, texttype=0))
pre3x8.add(gdstk.Label('gnd', (0,8.0375), layer=11, texttype=0))
pre3x8.add(gdstk.Label('gnd', (0,10.7275), layer=11, texttype=0))
pre3x8.add(gdstk.Label('in[1]', (0.275,0), layer=13, texttype=0))
pre3x8.add(gdstk.Label('vdd', (0,1.3125), layer=11, texttype=0))
pre3x8.add(gdstk.Label('vdd', (0,4.0025), layer=11, texttype=0))
pre3x8.add(gdstk.Label('vdd', (0,6.6925), layer=11, texttype=0))
pre3x8.add(gdstk.Label('vdd', (0,9.3825), layer=11, texttype=0))
pre3x8.add(gdstk.Label('out[3]', (4.675,4.72), layer=11, texttype=0))
pre3x8.add(gdstk.Label('in[2]', (0.55,0), layer=13, texttype=0))
pre3x8.add(gdstk.Label('out[2]', (4.675,3.285), layer=11, texttype=0))
pre3x8.add(gdstk.Label('in[0]', (0,0), layer=13, texttype=0))
pre3x8.add(gdstk.Label('out[6]', (4.675,8.665), layer=11, texttype=0))
pre3x8.add(gdstk.Label('out[0]', (4.675,0.595), layer=11, texttype=0))
pre3x8.add(gdstk.Label('out[1]', (4.675,2.03), layer=11, texttype=0))
pre3x8.add(gdstk.Label('out[4]', (4.675,5.975), layer=11, texttype=0))
pre3x8.add(gdstk.Label('out[5]', (4.675,7.41), layer=11, texttype=0))
pre3x8.add(gdstk.Label('out[7]', (4.675,10.1), layer=11, texttype=0))
pre3x8.add(gdstk.Label('gnd', (0,-0.0325), layer=11, texttype=0))
pre3x8.add(gdstk.Label('gnd', (0,2.6575), layer=11, texttype=0))
pre3x8.add(gdstk.Label('gnd', (0,5.3475), layer=11, texttype=0))
pre3x8.add(gdstk.Label('gnd', (0,8.0375), layer=11, texttype=0))
pre3x8.add(gdstk.Label('gnd', (0,10.7275), layer=11, texttype=0))
pre3x8.add(gdstk.Label('in[1]', (0.275,0), layer=13, texttype=0))
pre3x8.add(gdstk.Label('vdd', (0,1.3125), layer=11, texttype=0))
pre3x8.add(gdstk.Label('vdd', (0,4.0025), layer=11, texttype=0))
pre3x8.add(gdstk.Label('vdd', (0,6.6925), layer=11, texttype=0))
pre3x8.add(gdstk.Label('vdd', (0,9.3825), layer=11, texttype=0))

lib.write_gds('pre3x8.gds')
